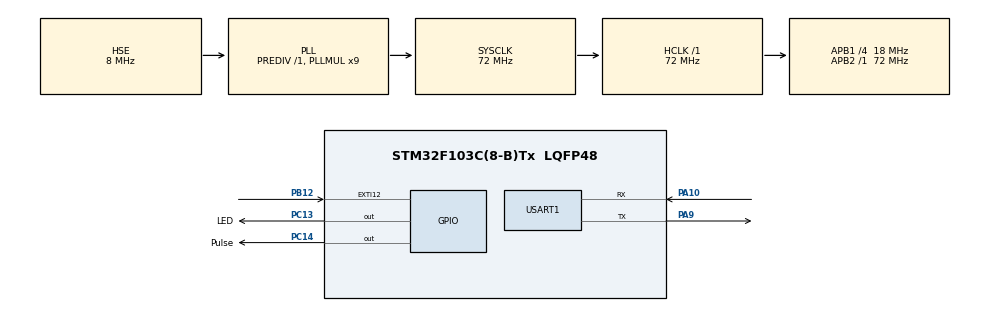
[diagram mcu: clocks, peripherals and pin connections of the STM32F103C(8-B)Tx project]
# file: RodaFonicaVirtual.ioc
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Mcu.Family=STM32F1
Mcu.Name=STM32F103C(8-B)Tx
Mcu.Package=LQFP48
NVIC.EXTI15_10_IRQn=true\:0\:0\:false\:false\:true\:true\:true\:true
NVIC.PriorityGroup=NVIC_PRIORITYGROUP_4
NVIC.TIM2_IRQn=true\:1\:0\:true\:false\:true\:true\:true\:true
PA10.Mode=Asynchronous
PA10.Signal=USART1_RX
PA9.Mode=Asynchronous
PA9.Signal=USART1_TX
PB12.GPIO_ModeDefaultEXTI=GPIO_MODE_IT_RISING
PB12.GPIO_PuPd=GPIO_PULLDOWN
PB12.Signal=GPXTI12
PC13-TAMPER-RTC.GPIO_Label=LED
PC13-TAMPER-RTC.GPIO_Speed=GPIO_SPEED_FREQ_HIGH
PC13-TAMPER-RTC.Signal=GPIO_Output
PC14-OSC32_IN.GPIO_Label=Pulse
PC14-OSC32_IN.GPIO_PuPd=GPIO_PULLDOWN
PC14-OSC32_IN.GPIO_Speed=GPIO_SPEED_FREQ_HIGH
PC14-OSC32_IN.Signal=GPIO_Output
PD0-OSC_IN.Mode=HSE-External-Oscillator
PD0-OSC_IN.Signal=RCC_OSC_IN
PD1-OSC_OUT.Mode=HSE-External-Oscillator
PD1-OSC_OUT.Signal=RCC_OSC_OUT
ProjectManager.HeapSize=0x200
ProjectManager.StackSize=0x400
ProjectManager.TargetToolchain=STM32CubeIDE
RCC.AHBFreq_Value=72000000
RCC.APB1CLKDivider=RCC_HCLK_DIV4
RCC.APB1Freq_Value=18000000
RCC.APB1TimFreq_Value=36000000
RCC.APB2Freq_Value=72000000
RCC.APB2TimFreq_Value=72000000
RCC.HCLKFreq_Value=72000000
RCC.PLLMUL=RCC_PLL_MUL9
RCC.PLLSourceVirtual=RCC_PLLSOURCE_HSE
RCC.SYSCLKFreq_VALUE=72000000
RCC.SYSCLKSource=RCC_SYSCLKSOURCE_PLLCLK
RCC.USBFreq_Value=72000000
TIM1.Prescaler=7199
TIM2.Period=100
TIM2.Prescaler=359
USART1.VirtualMode=VM_ASYNC
VP_SYS_VS_ND.Mode=No_Debug
VP_TIM1_VS_ClockSourceINT.Mode=Internal
VP_TIM2_VS_ClockSourceINT.Mode=Internal
board=custom

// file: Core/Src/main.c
/* USER CODE BEGIN Header */
/**
  ******************************************************************************
  * @file           : main.c
  * @brief          : Main program body
  ******************************************************************************
  * @attention
  *
  * Copyright (c) 2025 STMicroelectronics.
  * All rights reserved.
  *
  * This software is licensed under terms that can be found in the LICENSE file
  * in the root directory of this software component.
  * If no LICENSE file comes with this software, it is provided AS-IS.
  *
  ******************************************************************************
  */
/* USER CODE END Header */
#include "main.h"

/* USER CODE BEGIN Includes */
#include "stdio.h"
#include "string.h"
/* USER CODE END Includes */

TIM_HandleTypeDef htim1;
TIM_HandleTypeDef htim2;

UART_HandleTypeDef huart1;

/* USER CODE BEGIN PV */
char msg[50];
uint8_t denteRodaFonica = 0;
uint16_t temp_posAngularDente = 0;
uint8_t envia_msg = 0;
uint16_t periodo_us=0;
uint16_t temp_periodo_us=0;
uint16_t frequencia;
uint16_t count;
uint16_t count_anterior;
uint16_t posAngularDente=0;
float posAngularCalc=0.0;
float taxaVariacaoAng=0.0;
float temptaxaVariacaoAng=0.0;
float posAngularCalcAnt=0.0;
uint16_t contAux=0;
/* USER CODE END PV */

void SystemClock_Config(void);
static void MX_GPIO_Init(void);
static void MX_TIM1_Init(void);
static void MX_TIM2_Init(void);
static void MX_USART1_UART_Init(void);

/* USER CODE BEGIN 0 */
//***************************************************************************************************************************************
void HAL_TIM_PeriodElapsedCallback(TIM_HandleTypeDef *htim) {
  if (htim->Instance == TIM2) {
	  HAL_GPIO_TogglePin(Pulse_GPIO_Port, Pulse_Pin);
	  posAngularCalc=posAngularCalcAnt+taxaVariacaoAng;
	  if(posAngularCalc>360.0){posAngularCalc=0.0;}
	  posAngularCalcAnt=posAngularCalc;
	  temp_posAngularDente =posAngularDente;
	  temp_periodo_us=periodo_us;
	  temptaxaVariacaoAng=taxaVariacaoAng;
	  contAux++;
  }
}
//**********************************************************************************
void HAL_GPIO_EXTI_Callback(uint16_t GPIO_Pin)
{
	 count = __HAL_TIM_GET_COUNTER(&htim1); // Lê o valor atual do contador --> cada count vale 1us pela config que usei
	  __HAL_TIM_DISABLE(&htim1);          // Desabilita o timer
	  __HAL_TIM_SET_COUNTER(&htim1, 0);   // Reinicia contador
	  __HAL_TIM_ENABLE(&htim1);           // Reinicia o Timer

	 if(count>(uint16_t)count_anterior*2.5)
	 {
		  __HAL_TIM_DISABLE(&htim2);          // Desabilita o timer 2
		  __HAL_TIM_SET_COUNTER(&htim2, 0);   // Reinicia contador
		  __HAL_TIM_ENABLE(&htim2);           // Reinicia o Timer
		 denteRodaFonica = 1;
		 count_anterior=count;
		 posAngularDente=6;
		 posAngularCalcAnt=6.00;
		 periodo_us=count;

	 }
	 else
	 {
		 denteRodaFonica++;
		 count_anterior=count;
		 periodo_us=count;
		 taxaVariacaoAng=(6.0/count)*10.0;    //calcula a taxa de variação angular
		 posAngularDente= denteRodaFonica*6;

			 if(denteRodaFonica==5)
			 {
				 HAL_GPIO_WritePin(LED_GPIO_Port, LED_Pin, SET);
			 }

			 if(denteRodaFonica==7)
			 {

				 HAL_GPIO_WritePin(LED_GPIO_Port, LED_Pin, RESET);
			 }

			 if(denteRodaFonica==30)
			 {
				  __HAL_TIM_DISABLE(&htim2);          // Desabilita o timer 2
				  __HAL_TIM_SET_COUNTER(&htim2, 0);   // Reinicia contador
				  __HAL_TIM_ENABLE(&htim2);           // Reinicia o Timer
				 posAngularCalcAnt=denteRodaFonica*6.00;
			 }
	 }
	 EXTI->PR = EXTI_PR_PR12;  // Escreve 1 no bit para limpar flag de interrupção
}
//**********************************************************************************
/* USER CODE END 0 */

int main(void)
{

  /* MCU Configuration--------------------------------------------------------*/

  /* Reset of all peripherals, Initializes the Flash interface and the Systick. */
  HAL_Init();

  /* Configure the system clock */
  SystemClock_Config();

  /* Initialize all configured peripherals */
  MX_GPIO_Init();
  MX_TIM1_Init();
  MX_TIM2_Init();
  MX_USART1_UART_Init();
  /* USER CODE BEGIN 2 */
  HAL_TIM_Base_Start_IT(&htim2);				// Inicializa Interrupção Timer2
  /* USER CODE END 2 */

  /* Infinite loop */
  /* USER CODE BEGIN WHILE */
  while (1)
  {

	  if(contAux==999)
	  {
		  frequencia = 1000000/temp_periodo_us;
		  sprintf(msg, "Pos Angluar = %d\r\n", temp_posAngularDente);
		  HAL_UART_Transmit(&huart1, (uint8_t*)msg, strlen(msg), 50);
		  sprintf(msg, "Pos Angular Calc = %.2f\r\n", posAngularCalc);
		  HAL_UART_Transmit(&huart1, (uint8_t*)msg, strlen(msg), 50);
		  sprintf(msg, "Periodo us = %d\r\n", temp_periodo_us);
		  HAL_UART_Transmit(&huart1, (uint8_t*)msg, strlen(msg), 50);
		  sprintf(msg, "TX VARIACAO = %.2f\r\n", temptaxaVariacaoAng);
		  HAL_UART_Transmit(&huart1, (uint8_t*)msg, strlen(msg), 50);
		  sprintf(msg, "FREQUENCIA = %d\r\n", frequencia);
		  HAL_UART_Transmit(&huart1, (uint8_t*)msg, strlen(msg), 50);
		  contAux=0;
	  }

    /* USER CODE END WHILE */

  }
}

void SystemClock_Config(void)
{
  RCC_OscInitTypeDef RCC_OscInitStruct = {0};
  RCC_ClkInitTypeDef RCC_ClkInitStruct = {0};

  /** Initializes the RCC Oscillators according to the specified parameters
  * in the RCC_OscInitTypeDef structure.
  */
  RCC_OscInitStruct.OscillatorType = RCC_OSCILLATORTYPE_HSE;
  RCC_OscInitStruct.HSEState = RCC_HSE_ON;
  RCC_OscInitStruct.HSEPredivValue = RCC_HSE_PREDIV_DIV1;
  RCC_OscInitStruct.HSIState = RCC_HSI_ON;
  RCC_OscInitStruct.PLL.PLLState = RCC_PLL_ON;
  RCC_OscInitStruct.PLL.PLLSource = RCC_PLLSOURCE_HSE;
  RCC_OscInitStruct.PLL.PLLMUL = RCC_PLL_MUL9;
  if (HAL_RCC_OscConfig(&RCC_OscInitStruct) != HAL_OK)
  {
    Error_Handler();
  }

  /** Initializes the CPU, AHB and APB buses clocks
  */
  RCC_ClkInitStruct.ClockType = RCC_CLOCKTYPE_HCLK|RCC_CLOCKTYPE_SYSCLK
                              |RCC_CLOCKTYPE_PCLK1|RCC_CLOCKTYPE_PCLK2;
  RCC_ClkInitStruct.SYSCLKSource = RCC_SYSCLKSOURCE_PLLCLK;
  RCC_ClkInitStruct.AHBCLKDivider = RCC_SYSCLK_DIV1;
  RCC_ClkInitStruct.APB1CLKDivider = RCC_HCLK_DIV4;
  RCC_ClkInitStruct.APB2CLKDivider = RCC_HCLK_DIV1;

  if (HAL_RCC_ClockConfig(&RCC_ClkInitStruct, FLASH_LATENCY_2) != HAL_OK)
  {
    Error_Handler();
  }
}

static void MX_TIM1_Init(void)
{

  TIM_ClockConfigTypeDef sClockSourceConfig = {0};
  TIM_MasterConfigTypeDef sMasterConfig = {0};

  htim1.Instance = TIM1;
  htim1.Init.Prescaler = 71;
  htim1.Init.CounterMode = TIM_COUNTERMODE_UP;
  htim1.Init.Period = 65535;
  htim1.Init.ClockDivision = TIM_CLOCKDIVISION_DIV1;
  htim1.Init.RepetitionCounter = 0;
  htim1.Init.AutoReloadPreload = TIM_AUTORELOAD_PRELOAD_DISABLE;
  if (HAL_TIM_Base_Init(&htim1) != HAL_OK)
  {
    Error_Handler();
  }
  sClockSourceConfig.ClockSource = TIM_CLOCKSOURCE_INTERNAL;
  if (HAL_TIM_ConfigClockSource(&htim1, &sClockSourceConfig) != HAL_OK)
  {
    Error_Handler();
  }
  sMasterConfig.MasterOutputTrigger = TIM_TRGO_RESET;
  sMasterConfig.MasterSlaveMode = TIM_MASTERSLAVEMODE_DISABLE;
  if (HAL_TIMEx_MasterConfigSynchronization(&htim1, &sMasterConfig) != HAL_OK)
  {
    Error_Handler();
  }

}

static void MX_TIM2_Init(void)
{

  TIM_ClockConfigTypeDef sClockSourceConfig = {0};
  TIM_MasterConfigTypeDef sMasterConfig = {0};

  htim2.Instance = TIM2;
  htim2.Init.Prescaler = 35;
  htim2.Init.CounterMode = TIM_COUNTERMODE_UP;
  htim2.Init.Period = 10;
  htim2.Init.ClockDivision = TIM_CLOCKDIVISION_DIV1;
  htim2.Init.AutoReloadPreload = TIM_AUTORELOAD_PRELOAD_DISABLE;
  if (HAL_TIM_Base_Init(&htim2) != HAL_OK)
  {
    Error_Handler();
  }
  sClockSourceConfig.ClockSource = TIM_CLOCKSOURCE_INTERNAL;
  if (HAL_TIM_ConfigClockSource(&htim2, &sClockSourceConfig) != HAL_OK)
  {
    Error_Handler();
  }
  sMasterConfig.MasterOutputTrigger = TIM_TRGO_RESET;
  sMasterConfig.MasterSlaveMode = TIM_MASTERSLAVEMODE_DISABLE;
  if (HAL_TIMEx_MasterConfigSynchronization(&htim2, &sMasterConfig) != HAL_OK)
  {
    Error_Handler();
  }

}

static void MX_USART1_UART_Init(void)
{

  huart1.Instance = USART1;
  huart1.Init.BaudRate = 115200;
  huart1.Init.WordLength = UART_WORDLENGTH_8B;
  huart1.Init.StopBits = UART_STOPBITS_1;
  huart1.Init.Parity = UART_PARITY_NONE;
  huart1.Init.Mode = UART_MODE_TX_RX;
  huart1.Init.HwFlowCtl = UART_HWCONTROL_NONE;
  huart1.Init.OverSampling = UART_OVERSAMPLING_16;
  if (HAL_UART_Init(&huart1) != HAL_OK)
  {
    Error_Handler();
  }

}

static void MX_GPIO_Init(void)
{
  GPIO_InitTypeDef GPIO_InitStruct = {0};

  /* GPIO Ports Clock Enable */
  __HAL_RCC_GPIOC_CLK_ENABLE();
  __HAL_RCC_GPIOD_CLK_ENABLE();
  __HAL_RCC_GPIOB_CLK_ENABLE();
  __HAL_RCC_GPIOA_CLK_ENABLE();

  /*Configure GPIO pin Output Level */
  HAL_GPIO_WritePin(GPIOC, LED_Pin|Pulse_Pin, GPIO_PIN_RESET);

  /*Configure GPIO pin : LED_Pin */
  GPIO_InitStruct.Pin = LED_Pin;
  GPIO_InitStruct.Mode = GPIO_MODE_OUTPUT_PP;
  GPIO_InitStruct.Pull = GPIO_NOPULL;
  GPIO_InitStruct.Speed = GPIO_SPEED_FREQ_HIGH;
  HAL_GPIO_Init(LED_GPIO_Port, &GPIO_InitStruct);

  /*Configure GPIO pin : Pulse_Pin */
  GPIO_InitStruct.Pin = Pulse_Pin;
  GPIO_InitStruct.Mode = GPIO_MODE_OUTPUT_PP;
  GPIO_InitStruct.Pull = GPIO_PULLDOWN;
  GPIO_InitStruct.Speed = GPIO_SPEED_FREQ_HIGH;
  HAL_GPIO_Init(Pulse_GPIO_Port, &GPIO_InitStruct);

  /*Configure GPIO pin : PB12 */
  GPIO_InitStruct.Pin = GPIO_PIN_12;
  GPIO_InitStruct.Mode = GPIO_MODE_IT_RISING;
  GPIO_InitStruct.Pull = GPIO_PULLDOWN;
  HAL_GPIO_Init(GPIOB, &GPIO_InitStruct);

  /* EXTI interrupt init*/
  HAL_NVIC_SetPriority(EXTI15_10_IRQn, 0, 0);
  HAL_NVIC_EnableIRQ(EXTI15_10_IRQn);

}

void Error_Handler(void)
{
  __disable_irq();
  while (1)
  {
  }
}
